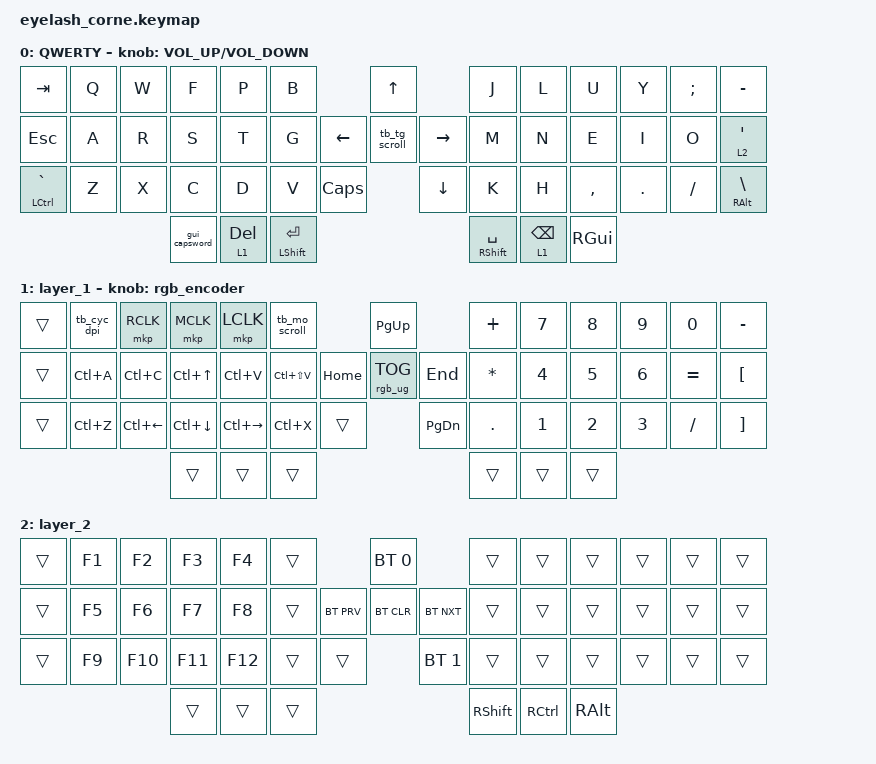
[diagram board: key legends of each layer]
#define ZMK_POINTING_DEFAULT_MOVE_VAL 1200  // 600
#define ZMK_POINTING_DEFAULT_SCRL_VAL 25   // 10

#include <input/processors.dtsi>
#include <zephyr/dt-bindings/input/input-event-codes.h>
#include <behaviors.dtsi>
#include <dt-bindings/zmk/bt.h>
#include <dt-bindings/zmk/keys.h>
#include <dt-bindings/zmk/pointing.h>
#include <dt-bindings/zmk/rgb.h>
#include <interfaces/hid-trackball.dtsi>

&mmv_input_listener { input-processors = <&zip_xy_scaler 2 1>; };

&msc_input_listener { input-processors = <&zip_scroll_scaler 2 1>; };

&msc {
    acceleration-exponent = <1>;      // 0
    time-to-max-speed-ms = <100>;       // 300
    delay-ms = <0>;                   // 0
};

&mmv {
    time-to-max-speed-ms = <500>;
    acceleration-exponent = <1>;
    trigger-period-ms = <16>;
};

/ {
    behaviors {
        td0: td0 {
            compatible = "zmk,behavior-tap-dance";
            display-name = "Shift/Caps Lock Tap Dance";
            #binding-cells = <0>;
            bindings = <&kp LEFT_SHIFT>, <&kp CAPS>;
        };

        gui_capsword: gui_capsword {
            compatible = "zmk,behavior-tap-dance";
            display-name = "Shift/Caps Lock Tap Dance";
            #binding-cells = <0>;
            bindings = <&kp LEFT_CONTROL>, <&caps_word>;

            label = "GUI_CAPSWORD";
        };
    };

    rgb_encoder: rgb_encoder {
        compatible = "zmk,behavior-sensor-rotate";
        #sensor-binding-cells = <0>;
        bindings = <&rgb_ug RGB_BRI>, <&rgb_ug RGB_BRD>;
    };

    scroll_encoder: scroll_encoder {
        compatible = "zmk,behavior-sensor-rotate";
        #sensor-binding-cells = <0>;
        bindings = <&msc SCRL_DOWN>, <&msc SCRL_UP>;

        tap-ms = <100>;
    };

    keymap {
        compatible = "zmk,keymap";

        default_layer {
            display-name = "QWERTY";
            bindings = <
&kp TAB                 &kp Q  &kp W  &kp F          &kp P         &kp B                                           &kp UP                    &kp J                  &kp L            &kp U          &kp Y    &kp SEMI  &kp MINUS
&kp ESCAPE              &kp A  &kp R  &kp S          &kp T         &kp G                                 &kp LEFT  &tb_tg_scroll  &kp RIGHT  &kp M                  &kp N            &kp E          &kp I    &kp O     &lt 2 APOSTROPHE
&mt LEFT_CONTROL GRAVE  &kp Z  &kp X  &kp C          &kp D         &kp V                 &kp CAPSLOCK              &kp DOWN                  &kp K                  &kp H            &kp COMMA      &kp DOT  &kp FSLH  &mt RIGHT_ALT BACKSLASH
                                      &gui_capsword  &lt 1 DELETE  &mt LEFT_SHIFT ENTER                                                      &mt RIGHT_SHIFT SPACE  &lt 1 BACKSPACE  &kp RIGHT_GUI
            >;

            sensor-bindings = <&inc_dec_kp C_VOLUME_UP C_VOLUME_DOWN>;
            label = "Colemak Mod-DH";
        };

        layer_1 {
            bindings = <
&trans  &tb_cyc_dpi  &mkp RCLK           &mkp MCLK           &mkp LCLK      &tb_mo_scroll                      &kp PAGE_UP               &kp PLUS      &kp N7        &kp N8  &kp N9  &kp N0     &kp MINUS
&trans  &kp LC(A)    &kp LC(C)           &kp LC(UP_ARROW)    &kp LC(V)      &kp LC(LS(V))            &kp HOME  &rgb_ug RGB_TOG  &kp END  &kp ASTERISK  &kp N4        &kp N5  &kp N6  &kp EQUAL  &kp LBKT
&trans  &kp LC(Z)    &kp LC(LEFT_ARROW)  &kp LC(DOWN_ARROW)  &kp LC(RIGHT)  &kp LC(X)      &trans              &kp PAGE_DOWN             &kp DOT       &kp NUMBER_1  &kp N2  &kp N3  &kp FSLH   &kp RBKT
                                         &trans              &trans         &trans                                                       &trans        &trans        &trans
            >;

            sensor-bindings = <&rgb_encoder>;
        };

        layer_2 {
            bindings = <
&trans  &kp F1  &kp F2   &kp F3   &kp F4   &trans                        &bt BT_SEL 0              &trans           &trans             &trans         &trans  &trans  &trans
&trans  &kp F5  &kp F6   &kp F7   &kp F8   &trans            &bt BT_PRV  &bt BT_CLR    &bt BT_NXT  &trans           &trans             &trans         &trans  &trans  &trans
&trans  &kp F9  &kp F10  &kp F11  &kp F12  &trans  &trans                &bt BT_SEL 1              &trans           &trans             &trans         &trans  &trans  &trans
                         &trans   &trans   &trans                                                  &kp RIGHT_SHIFT  &kp RIGHT_CONTROL  &kp RIGHT_ALT
            >;
        };
    };
};
